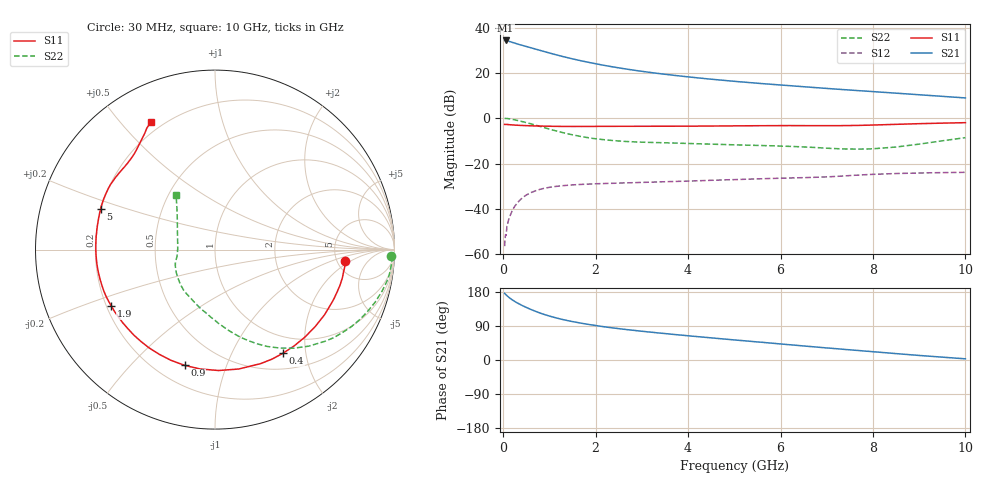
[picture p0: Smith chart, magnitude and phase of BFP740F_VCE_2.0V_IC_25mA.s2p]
! Infineon Technologies  Discrete & RF Semiconductors
! BFP740F
! VCE =  2.0 V,  IC =  25 mA
! Common Emitter S-Parameters:  Oct 2012
# GHz  S  MA  R  50
!  f  S11  S21  S12  S22
! GHz  MAG  ANG  MAG  ANG  MAG  ANG  MAG  ANG
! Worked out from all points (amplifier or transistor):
!   99 points, 30 MHz to 10 GHz, reference 50 ohm
!   highest |S21| = 34.3 dB at 50 MHz (marker M1)
!   |S21| within 3 dB of that: start of sweep to 558.8 MHz
!   unconditionally stable (mu >= 1): 5.522 GHz to end of sweep
!   at 350 MHz: K = 0.16, MSG = 34.4 dB, |S12| = -36.4 dB
!   at 3.5 GHz: K = 0.74, MSG = 23.7 dB, |S12| = -28.0 dB
!   at 10 GHz: K = 1.19, MAG = 13.8 dB, |S12| = -23.9 dB
!   S11 on the Smith chart (normalised r, x): 30 MHz: 5.96, -1.59; 400 MHz: 0.73, -1.61; 900 MHz: 0.31, -0.72; 1.9 GHz: 0.22, -0.24; 5 GHz: 0.20, +0.17; 10 GHz: 0.16, +0.61
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0.03  0.7295 -4.9  51.68 175.9  0.0015 90.2  0.9833 -2.1
0.05  0.7286 -8.1  51.84 173.6  0.0027 83.2  0.9873 -4.3
0.09  0.7252 -14.3  50.92 168.8  0.0042 83.0  0.9808 -8.4
0.13  0.7184 -20.6  49.39 164.5  0.0062 83.1  0.9662 -12.2
0.2  0.7103 -30.7  46.88 158.3  0.0094 75.8  0.9389 -18.2
0.3  0.699 -44.1  43.63 150.9  0.0133 70.5  0.8945 -26.0
0.4  0.6906 -56.7  40.78 144.5  0.0169 64.4  0.846 -33.2
0.5  0.6843 -68.2  38.12 138.7  0.0202 59.7  0.7979 -39.8
0.6  0.6783 -78.8  35.73 133.3  0.0228 55.0  0.7493 -45.9
0.8  0.6703 -97.1  31.26 123.8  0.027 47.4  0.6562 -56.7
0.9  0.6667 -104.7  29.27 119.7  0.0286 44.3  0.6137 -61.6
1.1  0.6608 -118.0  25.73 112.6  0.0309 39.3  0.5378 -70.2
1.3  0.6575 -128.8  22.77 106.5  0.0325 35.5  0.4766 -77.7
1.7  0.6558 -145.1  18.32 96.9  0.0346 30.8  0.3906 -90.6
1.9  0.6576 -151.3  16.64 92.9  0.0353 29.2  0.3621 -96.6
2.5  0.6614 -165.5  12.88 82.8  0.037 26.3  0.314 -111.7
3.4  0.6638 -180.0  9.57 70.9  0.0393 25.2  0.2882 -126.2
5  0.6765 160.3  6.506 53.0  0.0441 25.1  0.2583 -143.5
5.1  0.678 159.3  6.377 51.9  0.0444 25.1  0.2566 -144.8
6.7  0.6837 142.3  4.771 35.0  0.0494 25.3  0.2268 -164.3
8.5  0.7312 124.5  3.562 16.9  0.0601 22.1  0.231 155.0
10  0.7958 116.5  2.796 3.1  0.0638 16.8  0.3721 125.6
